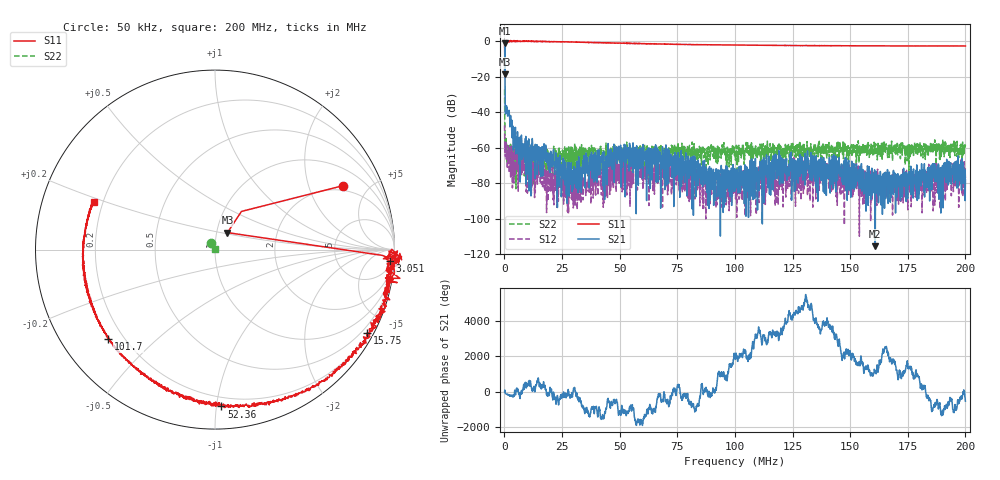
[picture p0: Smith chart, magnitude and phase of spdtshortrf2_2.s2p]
! 26-Feb-26 10:58:21 AM
! E:\VNA_MEASUREMENTS\SPDT1_OPENSHORT\SPDTSHORTRF2_2.S2P
! CHANNEL.1
! TR.MEASUREMENT
! CORRECTED.DATA
# GHZ S RI R 50.0
! FREQ.GHZ  S11RE  S11IM  S21RE  S21IM  S12RE  S12IM  S22RE  S22IM
!; PortSelection: Port_12
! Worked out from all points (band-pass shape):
!   2000 points, 50 kHz to 200 MHz, reference 50 ohm
!   highest |S21| = -1.28 dB at 150 kHz (marker M1); lowest = -115.5 dB at 160.9 MHz (marker M2)
!   |S21| within 3 dB of the highest: 131 kHz to 164.5 kHz (33.49 kHz wide, 22.7 % of centre)
!   lowest |S11| = -18.6 dB at 250 kHz (marker M3), VSWR 1.27, Z = 56.4 + j10.8 ohm
!   |S11| at or under -10 dB: 132.1 kHz to 297.9 kHz (165.7 kHz wide, 77.1 % of centre)
!   |S22| runs from -88.4 to -27.3 dB; largest |S21 - S12| = 0.86
!   S11 on the Smith chart (normalised r, x): 50 kHz: 1.75, +3.38; 3.051 MHz: 9, -27; 15.75 MHz: 0.28, -3.87; 52.36 MHz: 0.14, -1.03; 101.7 MHz: 0.14, -0.36; 200 MHz: 0.16, +0.19
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5e-05  0.7107 0.3555  0.1376 0.0251  0.000176 -0.00422  -0.0227 0.0367
0.000150025  0.1473 0.2126  -0.0383 0.8621  -0.000739 5.98e-05  0.00234 -0.00429
0.00025005  0.0694 0.0946  0.0795 -0.00418  -0.00102 -0.00101  -0.00027 -0.00249
0.001150275  0.9847 0.00205  -0.0111 -0.00782  -0.000235 -0.000581  2.85e-05 0.000994
0.00305075  0.9748 -0.0649  -0.0033 0.00376  0.000303 0.000468  -8.08e-05 -0.000725
0.005951476  0.9661 -0.1654  -0.000132 0.0012  -3.3e-06 5.92e-05  -0.000275 -0.000219
0.01575393  0.8462 -0.466  -0.000454 -0.000658  -0.000211 2.4e-05  -0.000136 -0.000116
0.0180545  0.8031 -0.5341  -0.000307 0.000655  -0.000163 -0.000154  0.000157 -5.93e-05
0.02755688  0.6111 -0.725  0.000119 8.11e-05  8.5e-06 1.14e-05  0.00028 0.000412
0.03345835  0.4649 -0.8028  -6.8e-06 -0.000242  5.68e-05 -4.59e-05  0.0011 0.000498
0.03495873  0.4311 -0.8127  -2.9e-06 -7.34e-05  0.00014 -2.93e-05  0.000963 0.000113
0.0436609  0.2339 -0.8659  0.000168 -0.000286  0.000101 -0.000111  0.000402 0.000471
0.05236308  0.0357 -0.8735  4.1e-05 1.9e-06  0.000396 -6.56e-05  0.000383 0.000159
0.06676668  -0.2235 -0.7998  -0.000779 -0.00022  -0.000309 0.000153  0.000389 0.000658
0.100075  -0.5834 -0.5121  -5.45e-05 -2.49e-05  -2.8e-06 6.58e-05  0.000379 0.000439
0.1016754  -0.5954 -0.4996  -0.000122 3.33e-05  6.11e-05 -9.71e-05  0.00107 0.000448
0.1182796  -0.674 -0.341  -0.000459 6.29e-05  0.000136 0.000175  0.000458 0.000623
0.1333833  -0.7175 -0.2103  0.000299 0.000191  9.26e-05 -5.01e-05  9.18e-05 0.000799
0.1608902  -0.734 0.0115  1.6e-06 5e-07  1.1e-06 4.51e-05  0.000418 0.000724
0.1666917  -0.7324 0.0521  -8.72e-05 -1.36e-05  2.16e-05 -4.64e-05  0.000288 0.0006
0.1861965  -0.7056 0.1872  -0.000156 -0.000152  -7.54e-05 0.000154  0.000171 0.00124
0.2  -0.6766 0.2667  -0.000124 -1.35e-05  6.45e-05 0.000121  0.00012 0.00119
